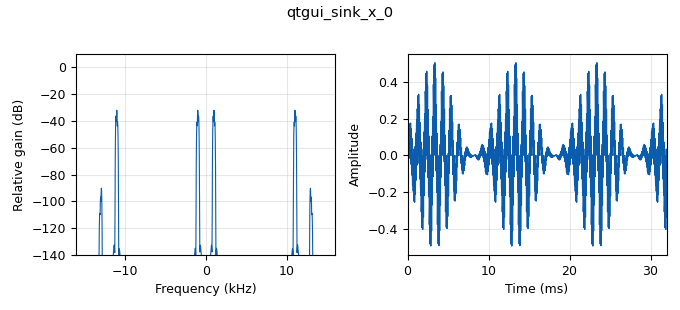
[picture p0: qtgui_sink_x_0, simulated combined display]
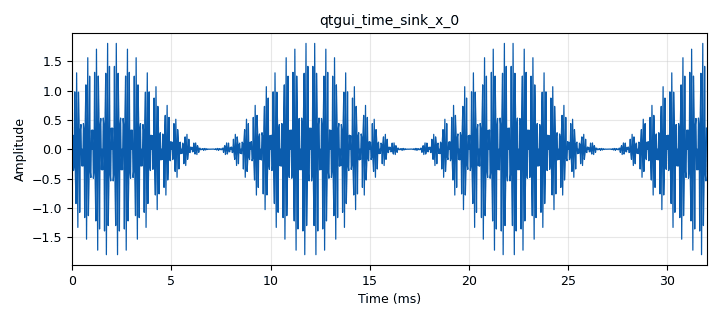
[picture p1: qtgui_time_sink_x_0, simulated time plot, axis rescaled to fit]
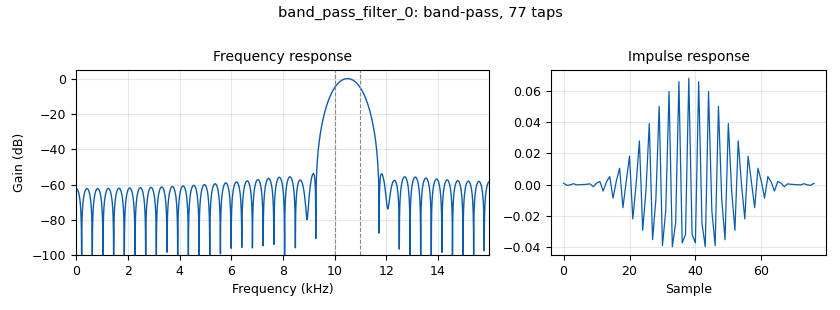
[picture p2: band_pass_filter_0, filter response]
<?xml version='1.0' encoding='utf-8'?>
<?grc format='1' created='3.7.11'?>
<flow_graph>
<block>
<key>options</key>
<param><key>id</key><value>top_block</value></param>
<param><key>generate_options</key><value>qt_gui</value></param>
</block>
<block>
<key>variable</key>
<param><key>id</key><value>samp_rate</value></param>
<param><key>value</key><value>32000</value></param>
</block>
<block>
<key>analog_const_source_x</key>
<param><key>id</key><value>analog_const_source_x_0</value></param>
<param><key>const</key><value>1</value></param>
<param><key>type</key><value>float</value></param>
</block>
<block>
<key>analog_sig_source_x</key>
<param><key>id</key><value>analog_sig_source_x_0</value></param>
<param><key>amp</key><value>1</value></param>
<param><key>freq</key><value>100</value></param>
<param><key>offset</key><value>0</value></param>
<param><key>type</key><value>float</value></param>
<param><key>samp_rate</key><value>samp_rate</value></param>
<param><key>waveform</key><value>analog.GR_COS_WAVE</value></param>
</block>
<block>
<key>analog_sig_source_x</key>
<param><key>id</key><value>analog_sig_source_x_0_0</value></param>
<param><key>amp</key><value>1</value></param>
<param><key>freq</key><value>1e3</value></param>
<param><key>offset</key><value>0</value></param>
<param><key>type</key><value>float</value></param>
<param><key>samp_rate</key><value>samp_rate</value></param>
<param><key>waveform</key><value>analog.GR_SIN_WAVE</value></param>
</block>
<block>
<key>analog_sig_source_x</key>
<param><key>id</key><value>analog_sig_source_x_0_0_0</value></param>
<param><key>amp</key><value>1</value></param>
<param><key>freq</key><value>10e3</value></param>
<param><key>offset</key><value>0</value></param>
<param><key>type</key><value>float</value></param>
<param><key>samp_rate</key><value>samp_rate</value></param>
<param><key>waveform</key><value>analog.GR_SIN_WAVE</value></param>
</block>
<block>
<key>analog_sig_source_x</key>
<param><key>id</key><value>analog_sig_source_x_0_0_0_0</value></param>
<param><key>amp</key><value>1</value></param>
<param><key>freq</key><value>10e3</value></param>
<param><key>offset</key><value>0</value></param>
<param><key>type</key><value>float</value></param>
<param><key>samp_rate</key><value>samp_rate</value></param>
<param><key>waveform</key><value>analog.GR_SIN_WAVE</value></param>
</block>
<block>
<key>band_pass_filter</key>
<param><key>id</key><value>band_pass_filter_0</value></param>
<param><key>decim</key><value>1</value></param>
<param><key>type</key><value>fir_filter_fff</value></param>
<param><key>gain</key><value>1</value></param>
<param><key>high_cutoff_freq</key><value>11e3</value></param>
<param><key>low_cutoff_freq</key><value>10e3</value></param>
<param><key>samp_rate</key><value>samp_rate</value></param>
<param><key>width</key><value>1e3</value></param>
<param><key>win</key><value>firdes.WIN_HAMMING</value></param>
</block>
<block>
<key>blocks_add_xx</key>
<param><key>id</key><value>blocks_add_xx_0</value></param>
<param><key>type</key><value>float</value></param>
</block>
<block>
<key>blocks_multiply_xx</key>
<param><key>id</key><value>blocks_multiply_xx_0</value></param>
<param><key>type</key><value>float</value></param>
</block>
<block>
<key>blocks_multiply_xx</key>
<param><key>id</key><value>blocks_multiply_xx_1</value></param>
<param><key>type</key><value>float</value></param>
</block>
<block>
<key>blocks_multiply_xx</key>
<param><key>id</key><value>blocks_multiply_xx_1_0</value></param>
<param><key>type</key><value>float</value></param>
</block>
<block>
<key>qtgui_sink_x</key>
<param><key>id</key><value>qtgui_sink_x_0</value></param>
<param><key>bw</key><value>samp_rate</value></param>
<param><key>fc</key><value>0</value></param>
<param><key>freqchangevar</key><value>None</value></param>
<param><key>fftsize</key><value>1024</value></param>
<param><key>showports</key><value>True</value></param>
<param><key>type</key><value>float</value></param>
<param><key>wintype</key><value>firdes.WIN_BLACKMAN_hARRIS</value></param>
</block>
<block>
<key>qtgui_time_sink_x</key>
<param><key>id</key><value>qtgui_time_sink_x_0</value></param>
<param><key>color1</key><value>"blue"</value></param>
<param><key>label1</key><value></value></param>
<param><key>size</key><value>1024</value></param>
<param><key>srate</key><value>samp_rate</value></param>
<param><key>type</key><value>float</value></param>
</block>
<connection><source_block_id>analog_const_source_x_0</source_block_id><sink_block_id>blocks_add_xx_0</sink_block_id><source_key>0</source_key><sink_key>1</sink_key></connection>
<connection><source_block_id>analog_sig_source_x_0</source_block_id><sink_block_id>blocks_add_xx_0</sink_block_id><source_key>0</source_key><sink_key>0</sink_key></connection>
<connection><source_block_id>analog_sig_source_x_0_0</source_block_id><sink_block_id>blocks_multiply_xx_0</sink_block_id><source_key>0</source_key><sink_key>1</sink_key></connection>
<connection><source_block_id>analog_sig_source_x_0_0_0</source_block_id><sink_block_id>blocks_multiply_xx_1</sink_block_id><source_key>0</source_key><sink_key>1</sink_key></connection>
<connection><source_block_id>analog_sig_source_x_0_0_0_0</source_block_id><sink_block_id>blocks_multiply_xx_1_0</sink_block_id><source_key>0</source_key><sink_key>0</sink_key></connection>
<connection><source_block_id>band_pass_filter_0</source_block_id><sink_block_id>blocks_multiply_xx_1_0</sink_block_id><source_key>0</source_key><sink_key>1</sink_key></connection>
<connection><source_block_id>blocks_add_xx_0</source_block_id><sink_block_id>blocks_multiply_xx_0</sink_block_id><source_key>0</source_key><sink_key>0</sink_key></connection>
<connection><source_block_id>blocks_multiply_xx_0</source_block_id><sink_block_id>blocks_multiply_xx_1</sink_block_id><source_key>0</source_key><sink_key>0</sink_key></connection>
<connection><source_block_id>blocks_multiply_xx_1</source_block_id><sink_block_id>band_pass_filter_0</sink_block_id><source_key>0</source_key><sink_key>0</sink_key></connection>
<connection><source_block_id>blocks_multiply_xx_1</source_block_id><sink_block_id>qtgui_time_sink_x_0</sink_block_id><source_key>0</source_key><sink_key>0</sink_key></connection>
<connection><source_block_id>blocks_multiply_xx_1_0</source_block_id><sink_block_id>qtgui_sink_x_0</sink_block_id><source_key>0</source_key><sink_key>0</sink_key></connection>
</flow_graph>
